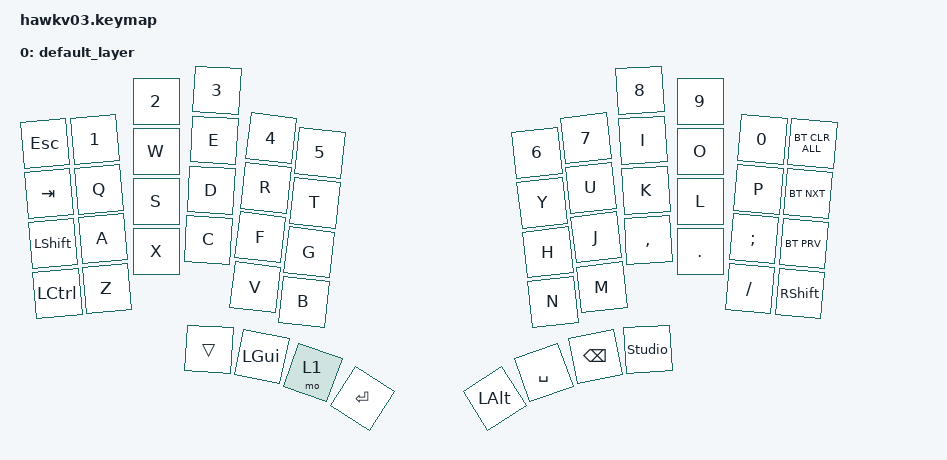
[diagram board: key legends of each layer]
// This file was generated from a template. Edit it to match your keyboard.
// See https://zmk.dev/docs/development/hardware-integration/new-shield for more instructions.

#include <behaviors.dtsi>
#include <dt-bindings/zmk/keys.h>
#include <dt-bindings/zmk/bt.h>

/ {
    // Define a default keymap here.
    // See https://zmk.dev/docs/development/hardware-integration/new-shield#default-keymap.
    keymap {
        compatible = "zmk,keymap";

        default_layer {
            //bindings = <
            //    &kp N1 &kp N2    &kp N3 &kp N4
            //    &kp A  &kp B     &kp C  &kp D
            //>;

            
            //-----------------------------------------------------------------------------------------------
            //|  ESC |   1   |   2   |   3   |   4   |   5   |               |   6   |   7   |   8   |   9   |   0   |BT_CLRALL|
            //|  TAB |   Q   |   W   |   E   |   R   |   T   |               |   Y   |   U   |   I   |   O   |   P   |BT_NXT | 
            //| SHIFT|   A   |   S   |   D   |   F   |   G   |               |   H   |   J   |   K   |   L   |   ;   |BT_PRV |
            //|  CTL |   Z   |   X   |   C   |   V   |   B   |               |   N   |   M   |   ,   |   .   |   /   |RSHIFT |
            //                       | BT 0 | SUPER | SYMBL | ENTER |  ALT  | SPACE | BKSPCE|STIOULK|

            bindings = <
              &kp ESC &kp N1  &kp N2  &kp N3  &kp N4  &kp N5                  &kp N6  &kp N7  &kp N8  &kp N9  &kp N0  &bt BT_CLR_ALL
              &kp TAB &kp Q   &kp W   &kp E   &kp R   &kp T                   &kp Y   &kp U   &kp I   &kp O   &kp P   &bt BT_NXT
              &kp LSHIFT &kp A &kp S  &kp D   &kp F   &kp G                   &kp H   &kp J   &kp K   &kp L   &kp SEMICOLON &bt BT_PRV
              &kp LCTRL &kp Z &kp X   &kp C   &kp V   &kp B                   &kp N   &kp M   &kp COMMA &kp DOT &kp SLASH &kp RSHIFT
                        &trans  &kp LGUI &mo 1  &kp ENTER               &kp LALT &kp SPACE &kp BACKSPACE &studio_unlock
            >;
        };
    };
};
